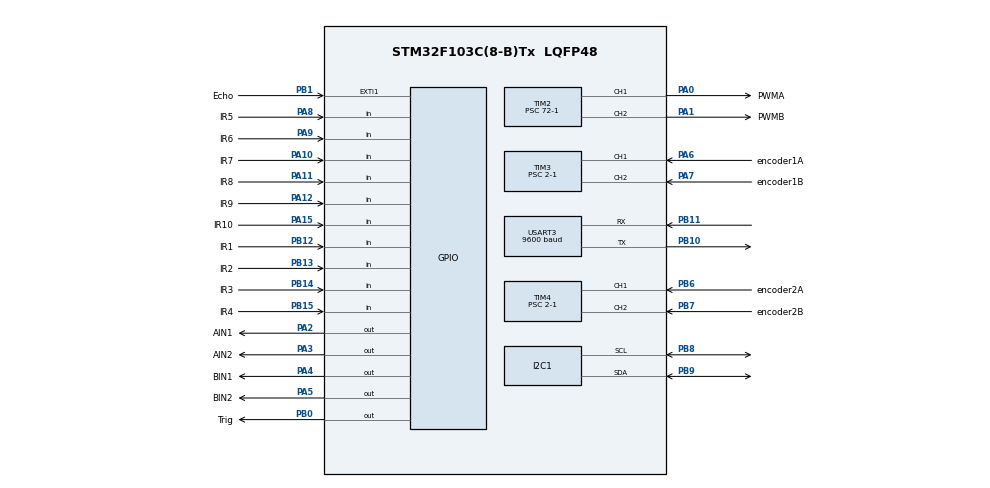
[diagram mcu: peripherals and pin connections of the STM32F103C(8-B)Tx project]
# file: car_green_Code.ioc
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Dma.Request0=USART3_RX
Dma.Request1=USART3_TX
Dma.USART3_RX.0.Direction=DMA_PERIPH_TO_MEMORY
Dma.USART3_RX.0.Instance=DMA1_Channel3
Dma.USART3_RX.0.MemDataAlignment=DMA_MDATAALIGN_BYTE
Dma.USART3_RX.0.MemInc=DMA_MINC_ENABLE
Dma.USART3_RX.0.Mode=DMA_NORMAL
Dma.USART3_RX.0.PeriphDataAlignment=DMA_PDATAALIGN_BYTE
Dma.USART3_RX.0.PeriphInc=DMA_PINC_DISABLE
Dma.USART3_RX.0.Priority=DMA_PRIORITY_LOW
Dma.USART3_TX.1.Direction=DMA_MEMORY_TO_PERIPH
Dma.USART3_TX.1.Instance=DMA1_Channel2
Dma.USART3_TX.1.MemDataAlignment=DMA_MDATAALIGN_BYTE
Dma.USART3_TX.1.MemInc=DMA_MINC_ENABLE
Dma.USART3_TX.1.Mode=DMA_NORMAL
Dma.USART3_TX.1.PeriphDataAlignment=DMA_PDATAALIGN_BYTE
Dma.USART3_TX.1.PeriphInc=DMA_PINC_DISABLE
Dma.USART3_TX.1.Priority=DMA_PRIORITY_LOW
Mcu.Family=STM32F1
Mcu.Name=STM32F103C(8-B)Tx
Mcu.Package=LQFP48
NVIC.DMA1_Channel2_IRQn=true\:0\:0\:false\:false\:true\:false\:true\:true
NVIC.DMA1_Channel3_IRQn=true\:0\:0\:false\:false\:true\:false\:true\:true
NVIC.EXTI1_IRQn=true\:0\:0\:false\:false\:true\:true\:true\:true
NVIC.PriorityGroup=NVIC_PRIORITYGROUP_4
NVIC.TIM1_UP_IRQn=true\:0\:0\:true\:false\:true\:true\:true\:true
NVIC.USART3_IRQn=true\:0\:0\:false\:false\:true\:true\:true\:true
PA0-WKUP.GPIO_Label=PWMA
PA0-WKUP.Signal=S_TIM2_CH1_ETR
PA1.GPIO_Label=PWMB
PA1.Signal=S_TIM2_CH2
PA10.GPIO_Label=IR7
PA10.GPIO_Mode=GPIO_MODE_INPUT
PA10.GPIO_PuPd=GPIO_PULLUP
PA10.Signal=GPIO_Input
PA11.GPIO_Label=IR8
PA11.GPIO_Mode=GPIO_MODE_INPUT
PA11.GPIO_PuPd=GPIO_PULLUP
PA11.Signal=GPIO_Input
PA12.GPIO_Label=IR9
PA12.GPIO_Mode=GPIO_MODE_INPUT
PA12.GPIO_PuPd=GPIO_PULLUP
PA12.Signal=GPIO_Input
PA13.Mode=Serial_Wire
PA13.Signal=SYS_JTMS-SWDIO
PA14.Mode=Serial_Wire
PA14.Signal=SYS_JTCK-SWCLK
PA15.GPIO_Label=IR10
PA15.GPIO_Mode=GPIO_MODE_INPUT
PA15.GPIO_PuPd=GPIO_PULLUP
PA15.Signal=GPIO_Input
PA2.GPIO_Label=AIN1
PA2.Signal=GPIO_Output
PA3.GPIO_Label=AIN2
PA3.Signal=GPIO_Output
PA4.GPIO_Label=BIN1
PA4.Signal=GPIO_Output
PA5.GPIO_Label=BIN2
PA5.Signal=GPIO_Output
PA6.GPIO_Label=encoder1A
PA6.Signal=S_TIM3_CH1
PA7.GPIO_Label=encoder1B
PA7.Signal=S_TIM3_CH2
PA8.GPIO_Label=IR5
PA8.GPIO_Mode=GPIO_MODE_INPUT
PA8.GPIO_PuPd=GPIO_PULLUP
PA8.Signal=GPIO_Input
PA9.GPIO_Label=IR6
PA9.GPIO_Mode=GPIO_MODE_INPUT
PA9.GPIO_PuPd=GPIO_PULLUP
PA9.Signal=GPIO_Input
PB0.GPIO_Label=Trig
PB0.Signal=GPIO_Output
PB1.GPIO_Label=Echo
PB1.GPIO_ModeDefaultEXTI=GPIO_MODE_IT_RISING_FALLING
PB1.GPIO_PuPd=GPIO_PULLDOWN
PB1.Signal=GPXTI1
PB10.Mode=Asynchronous
PB10.Signal=USART3_TX
PB11.Mode=Asynchronous
PB11.Signal=USART3_RX
PB12.GPIO_Label=IR1
PB12.GPIO_Mode=GPIO_MODE_INPUT
PB12.GPIO_PuPd=GPIO_PULLUP
PB12.Signal=GPIO_Input
PB13.GPIO_Label=IR2
PB13.GPIO_Mode=GPIO_MODE_INPUT
PB13.GPIO_PuPd=GPIO_PULLUP
PB13.Signal=GPIO_Input
PB14.GPIO_Label=IR3
PB14.GPIO_Mode=GPIO_MODE_INPUT
PB14.GPIO_PuPd=GPIO_PULLUP
PB14.Signal=GPIO_Input
PB15.GPIO_Label=IR4
PB15.GPIO_Mode=GPIO_MODE_INPUT
PB15.GPIO_PuPd=GPIO_PULLUP
PB15.Signal=GPIO_Input
PB6.GPIO_Label=encoder2A
PB6.Signal=S_TIM4_CH1
PB7.GPIO_Label=encoder2B
PB7.Signal=S_TIM4_CH2
PB8.Mode=I2C
PB8.Signal=I2C1_SCL
PB9.Mode=I2C
PB9.Signal=I2C1_SDA
PD0-OSC_IN.Mode=HSE-External-Oscillator
PD0-OSC_IN.Signal=RCC_OSC_IN
PD1-OSC_OUT.Mode=HSE-External-Oscillator
PD1-OSC_OUT.Signal=RCC_OSC_OUT
ProjectManager.HeapSize=0x200
ProjectManager.StackSize=0x400
ProjectManager.TargetToolchain=CMake
RCC.ADCPresc=RCC_ADCPCLK2_DIV6
RCC.AHBFreq_Value=72000000
RCC.APB1CLKDivider=RCC_HCLK_DIV2
RCC.APB1Freq_Value=36000000
RCC.APB1TimFreq_Value=72000000
RCC.APB2Freq_Value=72000000
RCC.APB2TimFreq_Value=72000000
RCC.HCLKFreq_Value=72000000
RCC.PLLMUL=RCC_PLL_MUL9
RCC.PLLSourceVirtual=RCC_PLLSOURCE_HSE
RCC.SYSCLKFreq_VALUE=72000000
RCC.SYSCLKSource=RCC_SYSCLKSOURCE_PLLCLK
RCC.USBFreq_Value=48000000
RCC.USBPrescaler=RCC_USBCLKSOURCE_PLL_DIV1_5
SH.S_TIM2_CH1_ETR.0=TIM2_CH1,PWM Generation1 CH1
SH.S_TIM2_CH2.0=TIM2_CH2,PWM Generation2 CH2
SH.S_TIM3_CH1.0=TIM3_CH1,Encoder_Interface
SH.S_TIM3_CH2.0=TIM3_CH2,Encoder_Interface
SH.S_TIM4_CH1.0=TIM4_CH1,Encoder_Interface
SH.S_TIM4_CH2.0=TIM4_CH2,Encoder_Interface
TIM1.Period=10000-1
TIM1.Prescaler=72-1
TIM2.AutoReloadPreload=TIM_AUTORELOAD_PRELOAD_ENABLE
TIM2.Channel-PWM\ Generation1\ CH1=TIM_CHANNEL_1
TIM2.Channel-PWM\ Generation2\ CH2=TIM_CHANNEL_2
TIM2.Period=100-1
TIM2.Prescaler=72-1
TIM3.IC1Filter=8
TIM3.IC2Filter=8
TIM3.Prescaler=2-1
TIM4.IC1Filter=8
TIM4.IC2Filter=8
TIM4.Prescaler=2-1
USART3.BaudRate=9600
USART3.VirtualMode=VM_ASYNC
VP_TIM1_VS_ClockSourceINT.Mode=Internal
VP_TIM2_VS_ClockSourceINT.Mode=Internal
board=custom

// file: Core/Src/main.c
/* USER CODE BEGIN Header */
/**
******************************************************************************
* @file           : main.c
* @brief          : Main program body
******************************************************************************
* @attention
*
* Copyright (c) 2025 STMicroelectronics.
* All rights reserved.
*
* This software is licensed under terms that can be found in the LICENSE file
* in the root directory of this software component.
* If no LICENSE file comes with this software, it is provided AS-IS.
*
******************************************************************************
*/
/* USER CODE END Header */
#include "main.h"
#include "dma.h"
#include "i2c.h"
#include "tim.h"
#include "usart.h"
#include "gpio.h"

/* USER CODE BEGIN Includes */
#include "motor.h"
#include <stdlib.h>
#include "config.h"
// #include "wave.h"
#include "timer.h"

#include <stdio.h>
#include <string.h>
#include "state_machine.h"

/* USER CODE END Includes */

/* USER CODE BEGIN PD */
// #define CKUART &huart2

/* USER CODE END PD */

/* USER CODE BEGIN PV */

unsigned long long currentMillis = 0; // 启动到现在的毫秒数

unsigned long long lastTrigMillis = 0;

unsigned long long lastBroadcastMillis = 0;

/* USER CODE END PV */

void SystemClock_Config(void);

/* USER CODE BEGIN 0 */

// void motor_back_and_forward(void) {
// if (forward) {
// 	speed += 10;
// } else {
// 	speed -= 10;
// }

// if (speed >= 100) {
// 	forward = 0;
// } else if (speed <= -100) {
// 	forward = 1;
// }
// motor_set(1, speed);
// HAL_Delay(50);
// }

/* USER CODE END 0 */

int main(void)
{

	/* MCU Configuration--------------------------------------------------------*/

	/* Reset of all peripherals, Initializes the Flash interface and the Systick. */
	HAL_Init();

	/* USER CODE BEGIN Init */
	//   motor_Init();

	/* USER CODE END Init */

	/* Configure the system clock */
	SystemClock_Config();

	/* Initialize all configured peripherals */
	MX_GPIO_Init();
	MX_DMA_Init();
	MX_USART3_UART_Init();
	MX_TIM2_Init();
	MX_TIM1_Init();
	MX_TIM3_Init();
	MX_TIM4_Init();
	MX_I2C1_Init();
	/* USER CODE BEGIN 2 */

	timer_Init();
	motor_Init();

	/* USER CODE END 2 */

	/* Infinite loop */
	/* USER CODE BEGIN WHILE */

	while (1) {

		next();

		/* USER CODE END WHILE */

	}
}

void SystemClock_Config(void)
{
RCC_OscInitTypeDef RCC_OscInitStruct = {0};
RCC_ClkInitTypeDef RCC_ClkInitStruct = {0};

/** Initializes the RCC Oscillators according to the specified parameters
* in the RCC_OscInitTypeDef structure.
*/
RCC_OscInitStruct.OscillatorType = RCC_OSCILLATORTYPE_HSE;
RCC_OscInitStruct.HSEState = RCC_HSE_ON;
RCC_OscInitStruct.HSEPredivValue = RCC_HSE_PREDIV_DIV1;
RCC_OscInitStruct.HSIState = RCC_HSI_ON;
RCC_OscInitStruct.PLL.PLLState = RCC_PLL_ON;
RCC_OscInitStruct.PLL.PLLSource = RCC_PLLSOURCE_HSE;
RCC_OscInitStruct.PLL.PLLMUL = RCC_PLL_MUL9;
if (HAL_RCC_OscConfig(&RCC_OscInitStruct) != HAL_OK)
{
	Error_Handler();
}

/** Initializes the CPU, AHB and APB buses clocks
*/
RCC_ClkInitStruct.ClockType = RCC_CLOCKTYPE_HCLK|RCC_CLOCKTYPE_SYSCLK
							|RCC_CLOCKTYPE_PCLK1|RCC_CLOCKTYPE_PCLK2;
RCC_ClkInitStruct.SYSCLKSource = RCC_SYSCLKSOURCE_PLLCLK;
RCC_ClkInitStruct.AHBCLKDivider = RCC_SYSCLK_DIV1;
RCC_ClkInitStruct.APB1CLKDivider = RCC_HCLK_DIV2;
RCC_ClkInitStruct.APB2CLKDivider = RCC_HCLK_DIV1;

if (HAL_RCC_ClockConfig(&RCC_ClkInitStruct, FLASH_LATENCY_2) != HAL_OK)
{
	Error_Handler();
}
}

/* USER CODE BEGIN 4 */

// void wave_legacy(void)
// {
// 	if (currentMillis - lastTrigMillis >= 200)
// 	{
// 		wave_Trig();
// 		lastTrigMillis = currentMillis;
// 	}

//   	if (currentMillis - lastBroadcastMillis >= 1000)
// 	{

// 		// motor_back_and_forward();
// 		motor_set(1, speed);

// 		int dis = get_last_distance() /10000;

// 		char disstr[50] = "";

// 		sprintf(disstr, "Last distance = %d cm, %d", dis, last_distance_count);

// 		HAL_UART_Transmit_DMA(&huart3, (uint8_t*)disstr, strlen(disstr));

// 		lastBroadcastMillis = currentMillis;
// 	}

// }

/* USER CODE END 4 */

void Error_Handler(void)
{
__disable_irq();
while (1) {
}
}

#ifdef  USE_FULL_ASSERT
/**
* @brief  Reports the name of the source file and the source line number
*         where the assert_param error has occurred.
* @param  file: pointer to the source file name
* @param  line: assert_param error line source number
* @retval None
*/
void assert_failed(uint8_t *file, uint32_t line)
{
/* USER CODE BEGIN 6 */
/* User can add his own implementation to report the file name and line
	number, ex: printf("Wrong parameters value: file %s on line %d\r\n", file,
	line) */
/* USER CODE END 6 */
}
#endif /* USE_FULL_ASSERT */
